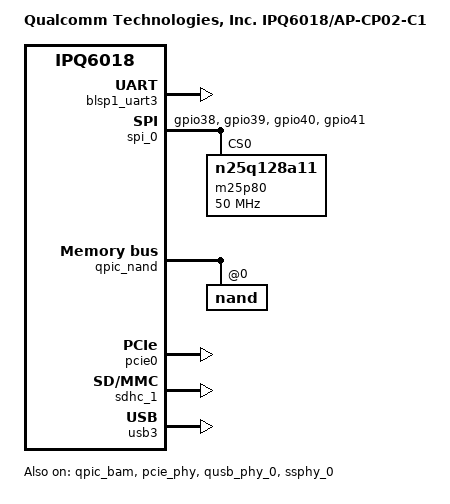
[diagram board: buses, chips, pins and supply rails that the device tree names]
/dts-v1/;
/*
 * Copyright (c) 2019-2020, The Linux Foundation. All rights reserved.
 *
 * Permission to use, copy, modify, and/or distribute this software for any
 * purpose with or without fee is hereby granted, provided that the above
 * copyright notice and this permission notice appear in all copies.
 *
 * THE SOFTWARE IS PROVIDED "AS IS" AND THE AUTHOR DISCLAIMS ALL WARRANTIES
 * WITH REGARD TO THIS SOFTWARE INCLUDING ALL IMPLIED WARRANTIES OF
 * MERCHANTABILITY AND FITNESS. IN NO EVENT SHALL THE AUTHOR BE LIABLE FOR
 * ANY SPECIAL, DIRECT, INDIRECT, OR CONSEQUENTIAL DAMAGES OR ANY DAMAGES
 * WHATSOEVER RESULTING FROM LOSS OF USE, DATA OR PROFITS, WHETHER IN AN
 * ACTION OF CONTRACT, NEGLIGENCE OR OTHER TORTIOUS ACTION, ARISING OUT OF
 * OR IN CONNECTION WITH THE USE OR PERFORMANCE OF THIS SOFTWARE.
 */

#include "ipq6018.dtsi"

/ {
	#address-cells = <0x2>;
	#size-cells = <0x2>;
	model = "Qualcomm Technologies, Inc. IPQ6018/AP-CP02-C1";
	compatible = "qcom,ipq6018-cp02", "qcom,ipq6018";
	interrupt-parent = <&intc>;
	qcom,msm-id = <0x192 0x0>, <0x193 0x0>;

	aliases {
		serial0 = &blsp1_uart3;
		sdhc1 = &sdhc_1;
	};

	chosen {
		stdout-path = "serial0:115200n8";
		bootargs-append = " swiotlb=1";
	};
};

&tlmm {
	spi_0_pins: spi_0_pins {
		pins = "gpio38", "gpio39", "gpio40", "gpio41";
		function = "blsp0_spi";
		drive-strength = <8>;
		bias-pull-down;
	};
};

&blsp1_uart3 {
	pinctrl-0 = <&serial_3_pins>;
	pinctrl-names = "default";
	status = "ok";
};

&spi_0 {
	pinctrl-0 = <&spi_0_pins>;
	pinctrl-names = "default";
	cs-select = <0>;
	status = "ok";

	m25p80@0 {
		#address-cells = <1>;
		#size-cells = <1>;
		reg = <0>;
		compatible = "n25q128a11";
		linux,modalias = "m25p80", "n25q128a11";
		spi-max-frequency = <50000000>;
		use-default-sizes;
	};
};

&qpic_bam {
	status = "ok";
};

&qpic_nand {
	status = "ok";

	nand@0 {
		reg = <0>;
		#address-cells = <1>;
		#size-cells = <1>;

		nand-ecc-strength = <4>;
		nand-ecc-step-size = <512>;
		nand-bus-width = <8>;
	};
};

&pcie_phy {
	status = "ok";
};

&pcie0 {
	status = "ok";
};

&sdhc_1 {
	status = "ok";
};

&qusb_phy_0 {
	status = "ok";
};

&ssphy_0 {
	status = "ok";
};

&usb3 {
	status = "ok";
};
